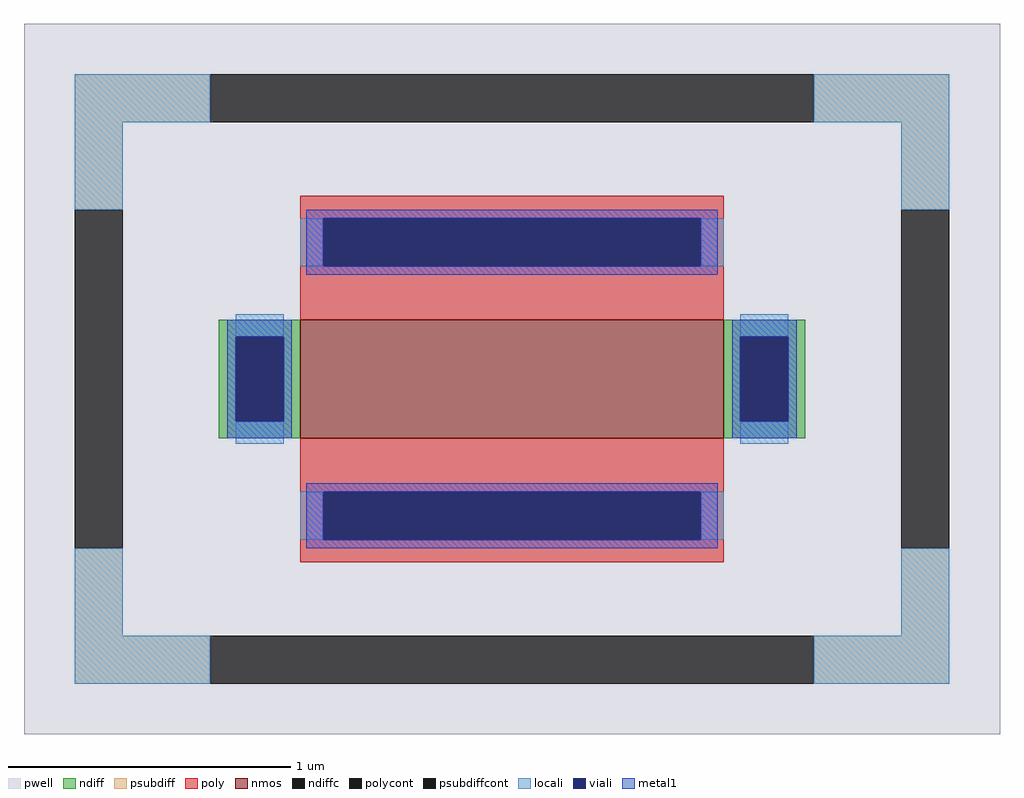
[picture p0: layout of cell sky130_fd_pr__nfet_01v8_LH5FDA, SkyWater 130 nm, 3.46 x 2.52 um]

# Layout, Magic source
magic
tech sky130A
<< pwell >>
rect -173 -126 173 126
<< nmos >>
rect -75 -21 75 21
<< ndiff >>
rect -104 15 -75 21
rect -104 -15 -98 15
rect -81 -15 -75 15
rect -104 -21 -75 -15
rect 75 15 104 21
rect 75 -15 81 15
rect 98 -15 104 15
rect 75 -21 104 -15
<< ndiffc >>
rect -98 -15 -81 15
rect 81 -15 98 15
<< psubdiff >>
rect -155 91 -107 108
rect 107 91 155 108
rect -155 60 -138 91
rect 138 60 155 91
rect -155 -91 -138 -60
rect 138 -91 155 -60
rect -155 -108 -107 -91
rect 107 -108 155 -91
<< psubdiffcont >>
rect -107 91 107 108
rect -155 -60 -138 60
rect 138 -60 155 60
rect -107 -108 107 -91
<< poly >>
rect -75 57 75 65
rect -75 40 -67 57
rect 67 40 75 57
rect -75 21 75 40
rect -75 -40 75 -21
rect -75 -57 -67 -40
rect 67 -57 75 -40
rect -75 -65 75 -57
<< polycont >>
rect -67 40 67 57
rect -67 -57 67 -40
<< locali >>
rect -155 91 -107 108
rect 107 91 155 108
rect -155 60 -138 91
rect 138 60 155 91
rect -75 40 -67 57
rect 67 40 75 57
rect -98 15 -81 23
rect -98 -23 -81 -15
rect 81 15 98 23
rect 81 -23 98 -15
rect -75 -57 -67 -40
rect 67 -57 75 -40
rect -155 -91 -138 -60
rect 138 -91 155 -60
rect -155 -108 -107 -91
rect 107 -108 155 -91
<< viali >>
rect -67 40 67 57
rect -98 -15 -81 15
rect 81 -15 98 15
rect -67 -57 67 -40
<< metal1 >>
rect -73 57 73 60
rect -73 40 -67 57
rect 67 40 73 57
rect -73 37 73 40
rect -101 15 -78 21
rect -101 -15 -98 15
rect -81 -15 -78 15
rect -101 -21 -78 -15
rect 78 15 101 21
rect 78 -15 81 15
rect 98 -15 101 15
rect 78 -21 101 -15
rect -73 -40 73 -37
rect -73 -57 -67 -40
rect 67 -57 73 -40
rect -73 -60 73 -57
<< properties >>
string FIXED_BBOX -146 -99 146 99
string gencell sky130_fd_pr__nfet_01v8
string library sky130
string parameters w 0.42 l 1.5 m 1 nf 1 diffcov 100 polycov 100 guard 1 glc 1 grc 1 gtc 1 gbc 1 tbcov 100 rlcov 100 topc 1 botc 1 poverlap 0 doverlap 1 lmin 0.15 wmin 0.42 compatible {sky130_fd_pr__nfet_01v8 sky130_fd_pr__nfet_01v8_lvt  sky130_fd_bs_flash__special_sonosfet_star  sky130_fd_pr__nfet_g5v0d10v5 sky130_fd_pr__nfet_05v0_nvt  sky130_fd_pr__nfet_03v3_nvt} full_metal 1 viasrc 100 viadrn 100 viagate 100 viagb 0 viagr 0 viagl 0 viagt 0
<< end >>
